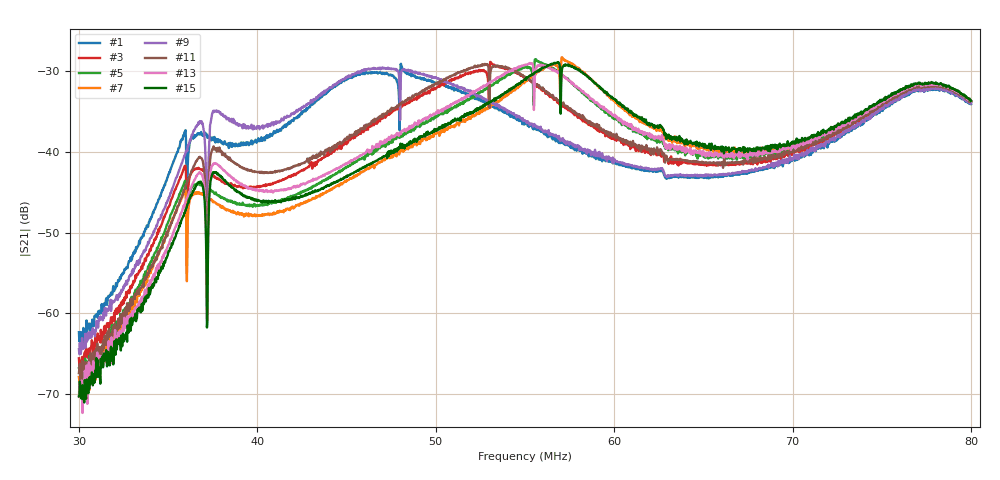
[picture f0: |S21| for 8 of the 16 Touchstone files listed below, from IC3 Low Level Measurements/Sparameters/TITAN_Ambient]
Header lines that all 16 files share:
#  HZ  S  DB  R  50.00
! Rohde & Schwarz Vector Network Analyzer
! Rohde-Schwarz,ZNB8-4Port,1311601044102961,2.82
! freq[Hz]  db:S11  ang:S11  db:S12  ang:S12  db:S13  ang:S13  db:S14  ang:S14
!  db:S21  ang:S21  db:S22  ang:S22  db:S23  ang:S23  db:S24  ang:S24
!  db:S31  ang:S31  db:S32  ang:S32  db:S33  ang:S33  db:S34  ang:S34
!  db:S41  ang:S41  db:S42  ang:S42  db:S43  ang:S43  db:S44  ang:S44
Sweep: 30 MHz to 80 MHz
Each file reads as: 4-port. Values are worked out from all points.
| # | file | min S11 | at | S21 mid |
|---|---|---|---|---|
| 1 | IC3_Left_48p0MHz_TITAN_1.s4p | -25.4 dB | 48 MHz | -36.3 dB at 55 MHz |
| 2 | IC3_Left_48p0MHz_TITAN_3.s4p | -30.3 dB | 48 MHz | -36.6 dB at 55 MHz |
| 3 | IC3_Left_53p0MHz_TITAN_1.s4p | -23.6 dB | 53 MHz | -30.7 dB at 55 MHz |
| 4 | IC3_Left_53p0MHz_TITAN_3.s4p | -26.7 dB | 53 MHz | -30.8 dB at 55 MHz |
| 5 | IC3_Left_55p5MHz_TITAN_1.s4p | -24.9 dB | 55.5 MHz | -29.5 dB at 55 MHz |
| 6 | IC3_Left_55p5MHz_TITAN_3.s4p | -29.6 dB | 55.5 MHz | -29.2 dB at 55 MHz |
| 7 | IC3_Left_57p0MHz_TITAN_1.s4p | -23.2 dB | 57 MHz | -31.3 dB at 55 MHz |
| 8 | IC3_Left_57p0MHz_TITAN_3.s4p | -27.3 dB | 57 MHz | -31.2 dB at 55 MHz |
| 9 | IC3_Right_48p0MHz_TITAN_1.s4p | -1.6 dB | 37.2 MHz | -36.2 dB at 55 MHz |
| 10 | IC3_Right_48p0MHz_TITAN_3.s4p | -1.6 dB | 37.2 MHz | -35.9 dB at 55 MHz |
| 11 | IC3_Right_53p0MHz_TITAN_1.s4p | -1.6 dB | 37.2 MHz | -30.6 dB at 55 MHz |
| 12 | IC3_Right_53p0MHz_TITAN_3.s4p | -1.6 dB | 37.2 MHz | -30.5 dB at 55 MHz |
| 13 | IC3_Right_55p5MHz_TITAN_1.s4p | -1.6 dB | 37.2 MHz | -29.2 dB at 55 MHz |
| 14 | IC3_Right_55p5MHz_TITAN_3.s4p | -1.6 dB | 37.2 MHz | -29.3 dB at 55 MHz |
| 15 | IC3_Right_57p0MHz_TITAN_1.s4p | -1.6 dB | 37.2 MHz | -31.0 dB at 55 MHz |
| 16 | IC3_Right_57p0MHz_TITAN_3.s4p | -1.6 dB | 37.2 MHz | -31.0 dB at 55 MHz |
